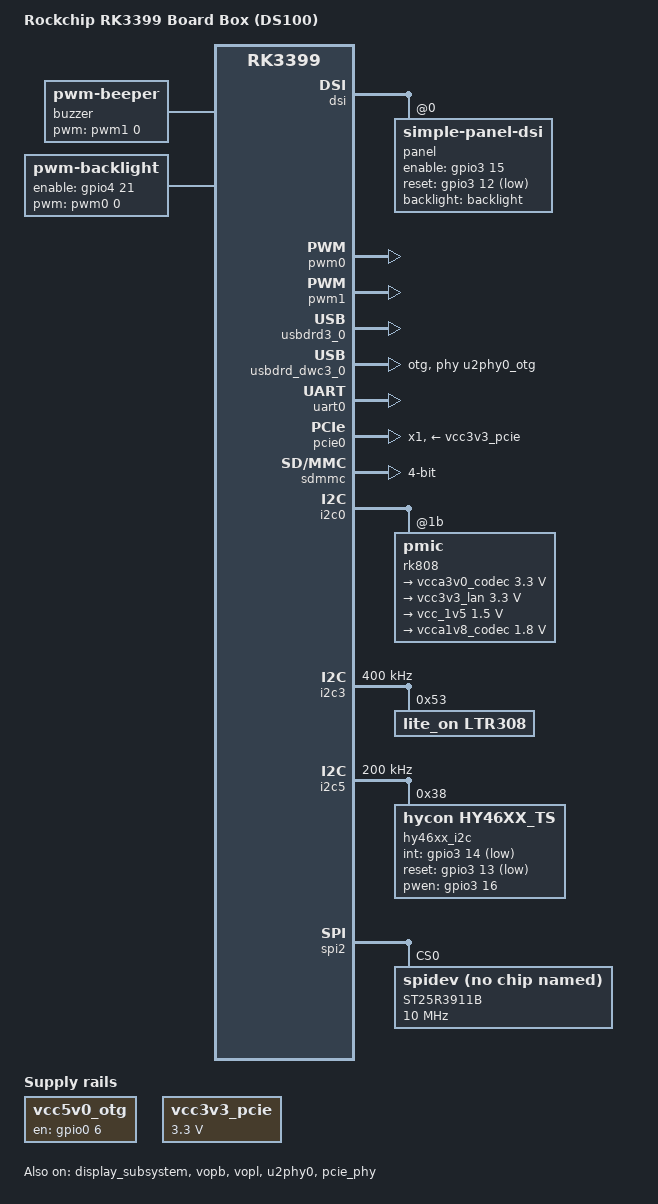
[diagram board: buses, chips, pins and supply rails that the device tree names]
/*
 * Copyright (c) 2016 Fuzhou Rockchip Electronics Co., Ltd
 *
 * This file is dual-licensed: you can use it either under the terms
 * of the GPL or the X11 license, at your option. Note that this dual
 * licensing only applies to this file, and not this project as a
 * whole.
 *
 *  a) This file is free software; you can redistribute it and/or
 *     modify it under the terms of the GNU General Public License as
 *     published by the Free Software Foundation; either version 2 of the
 *     License, or (at your option) any later version.
 *
 *     This file is distributed in the hope that it will be useful,
 *     but WITHOUT ANY WARRANTY; without even the implied warranty of
 *     MERCHANTABILITY or FITNESS FOR A PARTICULAR PURPOSE.  See the
 *     GNU General Public License for more details.
 *
 * Or, alternatively,
 *
 *  b) Permission is hereby granted, free of charge, to any person
 *     obtaining a copy of this software and associated documentation
 *     files (the "Software"), to deal in the Software without
 *     restriction, including without limitation the rights to use,
 *     copy, modify, merge, publish, distribute, sublicense, and/or
 *     sell copies of the Software, and to permit persons to whom the
 *     Software is furnished to do so, subject to the following
 *     conditions:
 *
 *     The above copyright notice and this permission notice shall be
 *     included in all copies or substantial portions of the Software.
 *
 *     THE SOFTWARE IS PROVIDED "AS IS", WITHOUT WARRANTY OF ANY KIND,
 *     EXPRESS OR IMPLIED, INCLUDING BUT NOT LIMITED TO THE WARRANTIES
 *     OF MERCHANTABILITY, FITNESS FOR A PARTICULAR PURPOSE AND
 *     NONINFRINGEMENT. IN NO EVENT SHALL THE AUTHORS OR COPYRIGHT
 *     HOLDERS BE LIABLE FOR ANY CLAIM, DAMAGES OR OTHER LIABILITY,
 *     WHETHER IN AN ACTION OF CONTRACT, TORT OR OTHERWISE, ARISING
 *     FROM, OUT OF OR IN CONNECTION WITH THE SOFTWARE OR THE USE OR
 *     OTHER DEALINGS IN THE SOFTWARE.
 */

/dts-v1/;
#include "rk3399-dmssa51.dtsi"

/ {
	model = "Rockchip RK3399 Board Box (DS100)";
	compatible = "rockchip-ds100","rockchip,rk3399-box";

	fiq_debugger: fiq-debugger {
		compatible = "rockchip,fiq-debugger";
		rockchip,serial-id = <2>;
		rockchip,wake-irq = <0>;
		rockchip,irq-mode-enable = <0>;  /* If enable uart uses irq instead of fiq */
		rockchip,baudrate = <115200>;  /* Only 115200 and 1500000 */
		pinctrl-names = "default";
		pinctrl-0 = <&uart2c_xfer>;
		interrupts = <GIC_SPI 150 IRQ_TYPE_LEVEL_HIGH 0>;
	};

	vcc5v0_otg: vcc5v0-otg-regulator {
		compatible = "regulator-fixed";
		enable-active-high;
		gpio = <&gpio0 6 GPIO_ACTIVE_HIGH>;
		pinctrl-names = "default";
		pinctrl-0 = <&host_vbus_drv>;
		regulator-name = "vcc5v0_otg";
		//regulator-always-on;
	};

	buzzer: buzzer {
		status = "okay";
		compatible = "pwm-beeper";
		pwms = <&pwm1 0 5000000 0>; //200 Hz
	};


	backlight: backlight {
		status = "okay";
		compatible = "pwm-backlight";
		pwms = <&pwm0 0 100000 0>; //10KHz
		enable-gpios = <&gpio4 21 GPIO_ACTIVE_HIGH>; //GPIO4_C5 in SA51, //GPIO3_A0
		brightness-levels = <
			  0   1   2   3   4   5   6   7
			  8   9  10  11  12  13  14  15
			 16  17  18  19  20  21  22  23
			 24  25  26  27  28  29  30  31
			 32  33  34  35  36  37  38  39
			 40  41  42  43  44  45  46  47
			 48  49  50  51  52  53  54  55
			 56  57  58  59  60  61  62  63
			 64  65  66  67  68  69  70  71
			 72  73  74  75  76  77  78  79
			 80  81  82  83  84  85  86  87
			 88  89  90  91  92  93  94  95
			 96  97  98  99 100 101 102 103
			104 105 106 107 108 109 110 111
			112 113 114 115 116 117 118 119
			120 121 122 123 124 125 126 127
			128 129 130 131 132 133 134 135
			136 137 138 139 140 141 142 143
			144 145 146 147 148 149 150 151
			152 153 154 155 156 157 158 159
			160 161 162 163 164 165 166 167
			168 169 170 171 172 173 174 175
			176 177 178 179 180 181 182 183
			184 185 186 187 188 189 190 191
			192 193 194 195 196 197 198 199
			200 201 202 203 204 205 206 207
			208 209 210 211 212 213 214 215
			216 217 218 219 220 221 222 223
			224 225 226 227 228 229 230 231
			232 233 234 235 236 237 238 239
			240 241 242 243 244 245 246 247
			248 249 250 251 252 253 254 255>;
		default-brightness-level = <200>;
	};

	vcc3v3_pcie: vcc3v3-pcie-regulator {
		compatible = "regulator-fixed";
		enable-active-high;
		regulator-always-on;
		regulator-boot-on;
		regulator-name = "vcc3v3_pcie";
		regulator-min-microvolt = <3300000>;
		regulator-max-microvolt = <3300000>;
	};
};

&display_subsystem {
	status = "okay";
	ports = <&vopb_out>, <&vopl_out>;
	logo-memory-region = <&drm_logo>;
	route {
		route_dsi: route-dsi {
			status = "okay";
			logo,uboot = "logo.bmp";
			logo,kernel = "logo_kernel.bmp";
			logo,mode = "center";
			charge_logo,mode = "center";
			connect = <&vopb_out_dsi>;
		};
	};
};

&dsi {

	status = "okay";
	//rockchip,lane-rate = <500>; 
	panel@0 {
		compatible ="simple-panel-dsi";
		reg = <0>;
		backlight = <&backlight>;
		pinctrl-names = "default";
		pinctrl-0 = <&dsi_gpio>;
		//power-supply = <&vcc_lcd>;
		enable-gpios = <&gpio3 15 GPIO_ACTIVE_HIGH>; //GPIO3_B7
		reset-gpios = <&gpio3 12 GPIO_ACTIVE_LOW>; //GPIO3_B4
		dsi,flags = <(MIPI_DSI_MODE_VIDEO | MIPI_DSI_MODE_VIDEO_BURST)>;
		dsi,format = <MIPI_DSI_FMT_RGB888>;
		//bus-format = <MEDIA_BUS_FMT_RGB666_1X18>;
		dsi,lanes = <4>;
		/*
		dsi,channel = <0>;
		delay,enable = <35>;
		delay,prepare = <6>;
		delay,unprepare = <0>;
		delay,disable = <20>;
		size,width = <120>;
		size,height = <170>;
		*/
		/* from simple-panel.txt */
		reset-delay-ms = <10>;
		init-delay-ms = <10>;
		enable-delay-ms = <10>;
		prepare-delay-ms = <10>;
		disable-delay-ms = <10>;
		unprepare-delay-ms = <10>;
		
		status = "okay";
         /*
          * <DCS CMD> <DELAY> <LENGTH> <PAYLOAD>
          * DCS cmd: 0x39 --> long write
          *          0x29 -->
          *          0x05 --> 
          *          0x15 --> 
          */
/*
		panel-init-sequence = [
		    39 C0 04 FF 98 81 00
		    05 C0 01 01
		    05 C0 01 23

		    39 C0 04 FF 98 81 04
		    15 C0 02 22 0A
		    15 C0 02 31 00
		    15 C0 02 50 5C
		    15 C0 02 51 5C
		    15 C0 02 53 4A
		    15 C0 02 55 68
		    15 C0 02 60 2B
		    15 C0 02 61 00
		    15 C0 02 62 19
		    15 C0 02 63 00

		    39 C0 04 FF 98 81 01
		    15 C0 02 22 0A
		    15 C0 02 31 00
		    15 C0 02 50 5C
		    15 C0 02 51 5C
		    15 C0 02 53 4A
		    15 C0 02 55 68
		    15 C0 02 60 2B
		    15 C0 02 61 00
		    15 C0 02 62 19
		    15 C0 02 63 00

			05 96 01 11
			05 64 01 29
		];
*/
		panel-init-sequence = [
		    29 01 04 FF 98 81 03
		    23 01 02 01 00
		    23 01 02 02 00
		    23 01 02 03 73
		    23 01 02 04 00
		    23 01 02 05 00
		    23 01 02 06 0E
		    23 01 02 07 00
		    23 01 02 08 00
		    23 01 02 09 01
		    23 01 02 0a 01
		    23 01 02 0b 01
		    23 01 02 0c 01
		    23 01 02 0d 01
		    23 01 02 0e 01
		    23 01 02 0f 00
		    23 01 02 10 00 
		    23 01 02 11 00
		    23 01 02 12 00
		    23 01 02 13 00
		    23 01 02 14 00
		    23 01 02 15 00
		    23 01 02 16 00 
		    23 01 02 17 00 
		    23 01 02 18 00
		    23 01 02 19 00
		    23 01 02 1a 00
		    23 01 02 1b 00
		    23 01 02 1c 00
		    23 01 02 1d 00
		    23 01 02 1e 40
		    23 01 02 1f C0
		    23 01 02 20 0A
		    23 01 02 21 05
		    23 01 02 22 00
		    23 01 02 23 00
		    23 01 02 24 00
		    23 01 02 25 00
		    23 01 02 26 00
		    23 01 02 27 00
		    23 01 02 28 33
		    23 01 02 29 03
		    23 01 02 2a 00
		    23 01 02 2b 00
		    23 01 02 2c 00
		    23 01 02 2d 00
		    23 01 02 2e 00
		    23 01 02 2f 00
		    23 01 02 30 00
		    23 01 02 31 00
		    23 01 02 32 00
		    23 01 02 33 00
		    23 01 02 34 00
		    23 01 02 35 00
		    23 01 02 36 00
		    23 01 02 37 00
		    23 01 02 38 00
		    23 01 02 39 35
		    23 01 02 3A 01
		    23 01 02 3B 40
		    23 01 02 3C 00
		    23 01 02 3D 01
		    23 01 02 3E 00
		    23 01 02 3F 00
		    23 01 02 40 35
		    23 01 02 41 88
		    23 01 02 42 00
		    23 01 02 43 40  
		    23 01 02 44 3F 
		    23 01 02 45 20
		    23 01 02 46 00
		    23 01 02 50 01
		    23 01 02 51 23
		    23 01 02 52 45
		    23 01 02 53 67
		    23 01 02 54 89
		    23 01 02 55 AB
		    23 01 02 56 01
		    23 01 02 57 23
		    23 01 02 58 45
		    23 01 02 59 67
		    23 01 02 5a 89
		    23 01 02 5b AB
		    23 01 02 5c CD
		    23 01 02 5d EF
		    23 01 02 5e 11
		    23 01 02 5f 0c
		    23 01 02 60 0d
		    23 01 02 61 0e
		    23 01 02 62 0f
		    23 01 02 63 06
		    23 01 02 64 07
		    23 01 02 65 02
		    23 01 02 66 02
		    23 01 02 67 02
		    23 01 02 68 02
		    23 01 02 69 02
		    23 01 02 6a 02
		    23 01 02 6b 02
		    23 01 02 6c 02
		    23 01 02 6d 02
		    23 01 02 6e 02
		    23 01 02 6f 02
		    23 01 02 70 02
		    23 01 02 71 02
		    23 01 02 72 02
		    23 01 02 73 01
		    23 01 02 74 00
		    23 01 02 75 0c
		    23 01 02 76 0d
		    23 01 02 77 0e
		    23 01 02 78 0f
		    23 01 02 79 06
		    23 01 02 7a 07
		    23 01 02 7b 02
		    23 01 02 7c 02
		    23 01 02 7d 02
		    23 01 02 7e 02
		    23 01 02 7f 02
		    23 01 02 80 02
		    23 01 02 81 02
		    23 01 02 82 02
		    23 01 02 83 02
		    23 01 02 84 02
		    23 01 02 85 02
		    23 01 02 86 02
		    23 01 02 87 02
		    23 01 02 88 02
		    23 01 02 89 01
		    23 01 02 8A 00
		    29 01 04 FF 98 81 04    
		    23 01 02 68 DB
		    23 01 02 6D 08
		    23 01 02 70 00
		    23 01 02 71 00
		    23 01 02 66 1E
		    23 01 02 3A 24
		    23 01 02 82 0A
		    23 01 02 84 0A
		    23 01 02 85 1D
		    23 01 02 32 AC
		    23 01 02 8C 80
		    23 01 02 3C F5
		    23 01 02 3A 24
		    23 01 02 B5 02
		    23 01 02 31 25
		    23 01 02 88 33
		    23 01 02 38 01
		    23 01 02 39 00 
		    29 01 04 FF 98 81 01    
		    23 01 02 22 0A      
		    23 01 02 31 00   
		    23 01 02 50 5C 
		    23 01 02 51 5C 
		    23 01 02 53 4A 
		    23 01 02 55 68 
		    23 01 02 60 2B 
		    23 01 02 61 00 
		    23 01 02 62 19 
		    23 01 02 63 00 
		    23 01 02 A0 0F	
		    23 01 02 A1 15	
		    23 01 02 A2 1C	
		    23 01 02 A3 0D	
		    23 01 02 A4 0E	
		    23 01 02 A5 1E	
		    23 01 02 A6 13	
		    23 01 02 A7 17	
		    23 01 02 A8 4A	
		    23 01 02 A9 1A	
		    23 01 02 AA 27	
		    23 01 02 AB 39	
		    23 01 02 AC 19	
		    23 01 02 AD 17	
		    23 01 02 AE 4E	
		    23 01 02 AF 23	
		    23 01 02 B0 29	
		    23 01 02 B1 3D	
		    23 01 02 B2 56	
		    23 01 02 B3 2F	
		    23 01 02 C0 0F	
		    23 01 02 C1 17	
		    23 01 02 C2 1D	
		    23 01 02 C3 0D	
		    23 01 02 C4 0B	
		    23 01 02 C5 1B	
		    23 01 02 C6 10	
		    23 01 02 C7 16	
		    23 01 02 C8 52	
		    23 01 02 C9 1C	
		    23 01 02 CA 26	
		    23 01 02 CB 4B	
		    23 01 02 CC 17	
		    23 01 02 CD 16	
		    23 01 02 CE 4A	
		    23 01 02 CF 20	
		    23 01 02 D0 27	
		    23 01 02 D1 4B	
		    23 01 02 D2 59	
		    23 01 02 D3 39	
		    29 01 04 FF 98 81 00
		    23 01 02 35 00
		    05 78 01 11
		    05 10 01 29

		];


		panel-exit-sequence = [
				05 05 01 28
				05 78 01 10
		];

		disp_timings: display-timings {
			native-mode = <&timing0>;
			timing0: timing0 {
			   clock-frequency = <80000000>;
			   hactive = <720>;
			   vactive = <1280>;
			   hsync-len = <5>;   //20, 50
			   hback-porch = <100>; //50, 56
			   hfront-porch = <100>;//50, 30
			   vsync-len = <1>;
			   vback-porch = <30>;
			   vfront-porch = <20>;
			   hsync-active = <33>;
			   vsync-active = <2>;
			   de-active = <0>;
			   pixelclk-active = <0>;
			};
			
			timing1: timing1 {
			   clock-frequency = <64000000>;
			   hactive = <720>;
			   vactive = <1280>;
			   hsync-len = <10>;   //20, 50
			   hback-porch = <150>; //50, 56
			   hfront-porch = <150>;//50, 30
			   vsync-len = <8>;
			   vback-porch = <19>;
			   vfront-porch = <20>;
			   hsync-active = <20>;
			   vsync-active = <2>;
			   de-active = <0>;
			   pixelclk-active = <0>;
			};			
		};
	};
};

&vopb {
	status = "okay";
};

&vopb_mmu {
	status = "okay";
};

&vopl {
	status = "okay";
};

&vopl_mmu {
	status = "okay";
};

&pwm0 {
	status = "okay";
};

&pwm1 {
	status = "okay";
};

&u2phy0 {
 	status = "okay";
	
 	u2phy0_otg: otg-port {
 		vbus-supply = <&vcc5v0_otg>;
 		status = "okay";
 	};
	u2phy0_host: host-port {
		phy-supply = <&vcc5v0_host>;
		status = "disabled";
	}; 	
};

&u2phy1 {
	status = "disabled";
};
	 
&usbdrd3_0 {
	extcon = <&u2phy0>;
	status = "okay";
};

&tcphy0 {
	extcon = <&fusb0>;
	status = "disabled";
	resets = <&cru SRST_UPHY0>,
			 <&cru SRST_UPHY0_PIPE_L00>,
			 <&cru SRST_P_UPHY0_TCPHY>,
			 <&cru SRST_A_USB3_OTG0>;
	reset-names = "uphy", "uphy-pipe", "uphy-tcphy", "usb3-otg";
};

&tcphy1 {
	status = "disabled";
	resets = <&cru SRST_UPHY1>,
			 <&cru SRST_UPHY1_PIPE_L00>,
			 <&cru SRST_P_UPHY1_TCPHY>,
			 <&cru SRST_A_USB3_OTG1>;
	reset-names = "uphy", "uphy-pipe", "uphy-tcphy", "usb3-otg";
};

&usbdrd3_0 {
	status = "okay";
	extcon = <&u2phy0>;
};

&usbdrd_dwc3_0 {
	dr_mode = "otg";
	maximum-speed = "high-speed";
	phys = <&u2phy0_otg>;
	phy-names = "usb2-phy";
	status = "okay";
};

&usbdrd3_1 {
	status = "disabled";
};

&usbdrd_dwc3_1 {
	status = "disabled";
};

&tcphy1 {
	status = "disabled";
};

&uart0 {
	pinctrl-names = "default";
	pinctrl-0 = <&uart0_xfer &uart0_cts>;
	status = "okay";
};

&pcie_phy {
	status = "okay";
};

&pcie0 {
	ep-gpios = <&gpio3 2 GPIO_ACTIVE_HIGH>; /* PCIE_PERST / GPIO3_A2 */
	num-lanes = <1>;
	pinctrl-names = "default";
	pinctrl-0 = <&pcie_clkreqn_cpm>;
	vpcie3v3-supply = <&vcc3v3_pcie>;
	status = "okay";
};

&sdmmc {
	clock-frequency = <100000000>;
	clock-freq-min-max = <100000 100000000>;
	supports-sd;
	bus-width = <4>;
	cap-mmc-highspeed;
	cap-sd-highspeed;
	disable-wp;
	num-slots = <1>;
	vqmmc-supply = <&vcc_sd>;
	pinctrl-names = "default";
	pinctrl-0 = <&sdmmc_clk &sdmmc_cmd &sdmmc_cd &sdmmc_bus4>;
	card-detect-delay = <800>;
	status = "okay";
};

&isp0_mmu {
	status = "okay";
};

&isp1_mmu {
	status = "okay";
};

&i2c0 {
	status = "okay";
	rk808: pmic@1b {
		regulators {
			vcca3v0_codec: LDO_REG2 {
				regulator-name = "vcca3v0_codec";
				regulator-min-microvolt = <3300000>;
				regulator-max-microvolt = <3300000>;
				regulator-always-on;
				regulator-boot-on;
				regulator-state-mem {
					regulator-on-in-suspend;
					regulator-suspend-microvolt = <3300000>;
				};
			};
			vcc3v3_lan: LDO_REG5 {
				regulator-name = "vcc3v3_lan";
				regulator-min-microvolt = <3300000>;
				regulator-max-microvolt = <3300000>;
				regulator-always-on;
				regulator-boot-on;
				regulator-state-mem {
					regulator-on-in-suspend;
					regulator-suspend-microvolt = <3300000>;
				};
			};
			vcc_1v5: LDO_REG6 {
				regulator-name = "vcc_1v5";
				regulator-min-microvolt = <1500000>;
				regulator-max-microvolt = <1500000>;
				regulator-always-on;
				regulator-boot-on;
				regulator-state-mem {
					regulator-on-in-suspend;
					regulator-suspend-microvolt = <1500000>;
				};
			};

			vcca1v8_codec: LDO_REG7 {
				regulator-name = "vcca1v8_codec";
				regulator-min-microvolt = <1800000>;
				regulator-max-microvolt = <1800000>;
				regulator-always-on;
				regulator-boot-on;
				regulator-state-mem {
					regulator-on-in-suspend;
					regulator-suspend-microvolt = <1800000>;
				};
			};
		};
	};
};

&i2c3 {
	status = "okay";
	clock-frequency = <400000>;
	ltr308@53 {
		compatible = "lite_on,ltr308";
		reg = <0x53>;
		status = "okay";
	};
};


&i2c4 {
	status = "disabled";
	fusb0: fusb30x@22 {
		compatible = "fairchild,fusb302";
		reg = <0x22>;
		pinctrl-names = "default";
		pinctrl-0 = <&fusb0_int>;
		vbus-5v-gpios = <&gpio0 6 GPIO_ACTIVE_HIGH>;
		int-n-gpios = <&gpio1 2 GPIO_ACTIVE_HIGH>;
		fusb302,role = "ROLE_MODE_DRP";
		status = "disabled";
	};
};

&i2c5 {
	status = "okay";
	clock-frequency = <200000>;
	hy46xx_i2c@38 {
		compatible = "hycon,hy46xx_ts";
		reg = <0x38>;
		//interrupt-parent = <&gpio3>;
		pinctrl-names = "default";
		pinctrl-0 = <&ctp_gpio>;
		interrupts = <14 IRQ_TYPE_EDGE_FALLING>;
		int-gpios = <&gpio3 14 GPIO_ACTIVE_LOW>;
		reset-gpios = <&gpio3 13 GPIO_ACTIVE_LOW>;
		pwen-gpios = <&gpio3 16 GPIO_ACTIVE_HIGH>;
		status = "okay";
	};
};


&spi2 {
	status = "okay";

    max-freq = <48000000>;  
      ST25R3911B@0 {
              compatible = "rockchip,spidev";
		pinctrl-names = "default";
		pinctrl-0 = <&spi2_int>;
              // TODO: can run faster once verified.
              // TODO: add rx-sample-delay-ns.
              spi-max-frequency = <10000000>;
              reg = <0>;
              //spi-lsb-first;
      };

};

&vcc5v0_host {
	status = "disabled";
};

&gmac {
	status = "disabled";
};

&spdif {
	status = "disabled";
};

&pinctrl {
	pinctrl-names = "default";
	pinctrl-0 = <&msr_gpio>;
	fusb30x {
		fusb0_int: fusb0-int {
			rockchip,pins =
				<1 2 RK_FUNC_GPIO &pcfg_pull_up>;
		};
	};

	u2phy0 {
		otg_vbus: otg-vbus {
			rockchip,pins =
				<0 6 RK_FUNC_GPIO &pcfg_pull_none>; //GPIO0_A6
		};
	};

	hy46xx_i2c {
		ctp_gpio: ctp-gpio {
			rockchip,pins =
				<3 13  RK_FUNC_GPIO &pcfg_pull_none>, // GPIO3_B5
				<3 14  RK_FUNC_GPIO &pcfg_pull_none>, //GPIO3_B6
				<3 16  RK_FUNC_GPIO &pcfg_pull_none>; //GPIO3_B0
		};
	};

	dsi {
		dsi_gpio:dsi-gpio{
			rockchip,pins=
                    <3 12  RK_FUNC_GPIO &pcfg_pull_none>, // GPIO3_B4
                    <3 15  RK_FUNC_GPIO &pcfg_pull_up>; // GPIO3_B7
			
		};
	};
	spi2 {
		spi2_int:spi2-int {
			rockchip,pins=
                    <2 8  RK_FUNC_GPIO &pcfg_pull_up>; // GPIO2_B0
		};
		
	};
	
	sdio-pwrseq {
		wifi_enable_h: wifi-enable-h {
			rockchip,pins =
				<0 10 RK_FUNC_GPIO &pcfg_pull_none>; /* GPIO0_B2 - WIFI_REG_ON_H */
		};
	};
	wireless-bluetooth {
		uart0_gpios: uart0-gpios {
			rockchip,pins =
				<2 19 RK_FUNC_GPIO &pcfg_pull_none>;
		};
	};
	msr-reader {
		msr_gpio: msr-gpio {
			rockchip,pins =
				<3 1 RK_FUNC_GPIO &pcfg_output_high>; /* GPIO3_A1 - MSR_EN */
		};
	};
};
